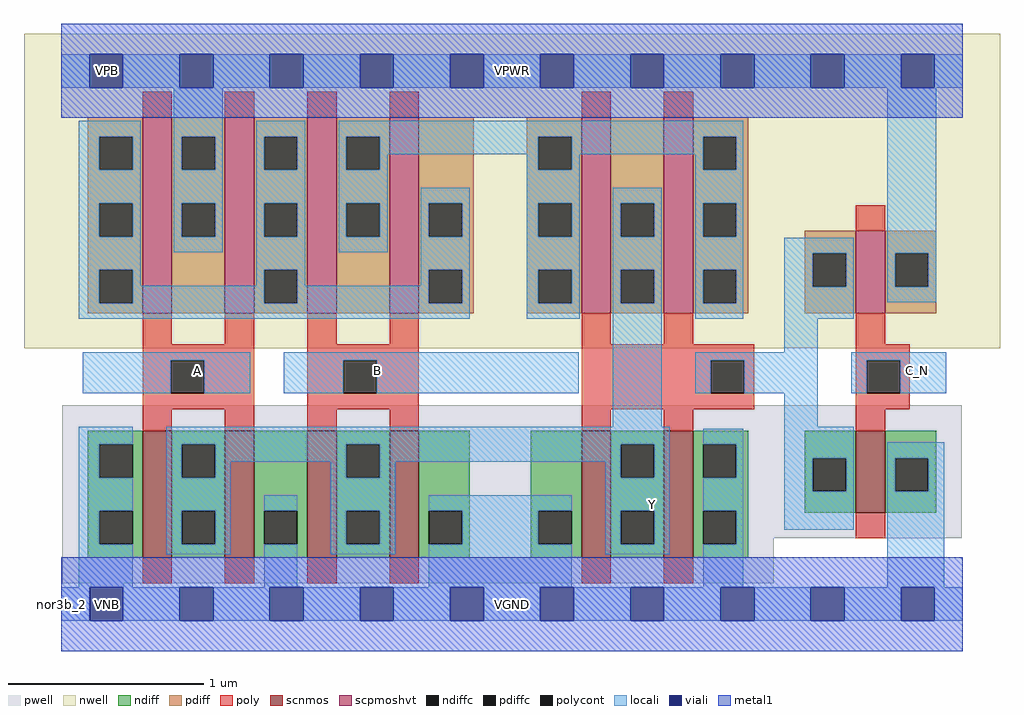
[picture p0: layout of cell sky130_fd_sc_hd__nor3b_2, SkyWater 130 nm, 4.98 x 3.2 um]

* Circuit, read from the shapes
.subckt sky130_fd_sc_hd__nor3b_2 A B C_N VGND VNB VPB VPWR Y
XM1 Y A VGND VNB sky130_fd_pr__nfet_01v8 w=0.65 l=0.15 m=2
XM2 Y B VGND VNB sky130_fd_pr__nfet_01v8 w=0.65 l=0.15 m=2
XM3 Y n1 VGND VNB sky130_fd_pr__nfet_01v8 w=0.65 l=0.15 m=2
XM4 VGND C_N n1 VNB sky130_fd_pr__nfet_01v8 w=0.42 l=0.15
XM5 VPWR A n2 VPB sky130_fd_pr__pfet_01v8_hvt w=1 l=0.15 m=2
XM6 n3 B n2 VPB sky130_fd_pr__pfet_01v8_hvt w=1 l=0.15 m=2
XM7 Y n1 n3 VPB sky130_fd_pr__pfet_01v8_hvt w=1 l=0.15 m=2
XM8 VPWR C_N n1 VPB sky130_fd_pr__pfet_01v8_hvt w=0.42 l=0.15
.ends

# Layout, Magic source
magic
tech sky130A
magscale 1 2
<< nwell >>
rect -38 261 958 582
<< pwell >>
rect 1 67 919 203
rect 1 21 727 67
rect 30 -17 64 21
<< scnmos >>
rect 83 47 113 177
rect 167 47 197 177
rect 251 47 281 177
rect 335 47 365 177
rect 531 47 561 177
rect 615 47 645 177
rect 811 93 841 177
<< scpmoshvt >>
rect 83 297 113 497
rect 167 297 197 497
rect 251 297 281 497
rect 335 297 365 497
rect 531 297 561 497
rect 615 297 645 497
rect 811 297 841 381
<< ndiff >>
rect 27 163 83 177
rect 27 129 39 163
rect 73 129 83 163
rect 27 95 83 129
rect 27 61 39 95
rect 73 61 83 95
rect 27 47 83 61
rect 113 163 167 177
rect 113 129 123 163
rect 157 129 167 163
rect 113 95 167 129
rect 113 61 123 95
rect 157 61 167 95
rect 113 47 167 61
rect 197 95 251 177
rect 197 61 207 95
rect 241 61 251 95
rect 197 47 251 61
rect 281 163 335 177
rect 281 129 291 163
rect 325 129 335 163
rect 281 95 335 129
rect 281 61 291 95
rect 325 61 335 95
rect 281 47 335 61
rect 365 95 417 177
rect 365 61 375 95
rect 409 61 417 95
rect 365 47 417 61
rect 479 95 531 177
rect 479 61 487 95
rect 521 61 531 95
rect 479 47 531 61
rect 561 163 615 177
rect 561 129 571 163
rect 605 129 615 163
rect 561 95 615 129
rect 561 61 571 95
rect 605 61 615 95
rect 561 47 615 61
rect 645 163 701 177
rect 645 129 655 163
rect 689 129 701 163
rect 645 95 701 129
rect 645 61 655 95
rect 689 61 701 95
rect 759 149 811 177
rect 759 115 767 149
rect 801 115 811 149
rect 759 93 811 115
rect 841 149 893 177
rect 841 115 851 149
rect 885 115 893 149
rect 841 93 893 115
rect 645 47 701 61
<< pdiff >>
rect 27 477 83 497
rect 27 443 39 477
rect 73 443 83 477
rect 27 409 83 443
rect 27 375 39 409
rect 73 375 83 409
rect 27 341 83 375
rect 27 307 39 341
rect 73 307 83 341
rect 27 297 83 307
rect 113 477 167 497
rect 113 443 123 477
rect 157 443 167 477
rect 113 409 167 443
rect 113 375 123 409
rect 157 375 167 409
rect 113 297 167 375
rect 197 477 251 497
rect 197 443 207 477
rect 241 443 251 477
rect 197 409 251 443
rect 197 375 207 409
rect 241 375 251 409
rect 197 341 251 375
rect 197 307 207 341
rect 241 307 251 341
rect 197 297 251 307
rect 281 477 335 497
rect 281 443 291 477
rect 325 443 335 477
rect 281 409 335 443
rect 281 375 291 409
rect 325 375 335 409
rect 281 297 335 375
rect 365 409 421 497
rect 365 375 375 409
rect 409 375 421 409
rect 365 341 421 375
rect 365 307 375 341
rect 409 307 421 341
rect 365 297 421 307
rect 475 477 531 497
rect 475 443 487 477
rect 521 443 531 477
rect 475 409 531 443
rect 475 375 487 409
rect 521 375 531 409
rect 475 341 531 375
rect 475 307 487 341
rect 521 307 531 341
rect 475 297 531 307
rect 561 409 615 497
rect 561 375 571 409
rect 605 375 615 409
rect 561 341 615 375
rect 561 307 571 341
rect 605 307 615 341
rect 561 297 615 307
rect 645 477 701 497
rect 645 443 655 477
rect 689 443 701 477
rect 645 409 701 443
rect 645 375 655 409
rect 689 375 701 409
rect 645 341 701 375
rect 645 307 655 341
rect 689 307 701 341
rect 645 297 701 307
rect 759 358 811 381
rect 759 324 767 358
rect 801 324 811 358
rect 759 297 811 324
rect 841 358 893 381
rect 841 324 851 358
rect 885 324 893 358
rect 841 297 893 324
<< ndiffc >>
rect 39 129 73 163
rect 39 61 73 95
rect 123 129 157 163
rect 123 61 157 95
rect 207 61 241 95
rect 291 129 325 163
rect 291 61 325 95
rect 375 61 409 95
rect 487 61 521 95
rect 571 129 605 163
rect 571 61 605 95
rect 655 129 689 163
rect 655 61 689 95
rect 767 115 801 149
rect 851 115 885 149
<< pdiffc >>
rect 39 443 73 477
rect 39 375 73 409
rect 39 307 73 341
rect 123 443 157 477
rect 123 375 157 409
rect 207 443 241 477
rect 207 375 241 409
rect 207 307 241 341
rect 291 443 325 477
rect 291 375 325 409
rect 375 375 409 409
rect 375 307 409 341
rect 487 443 521 477
rect 487 375 521 409
rect 487 307 521 341
rect 571 375 605 409
rect 571 307 605 341
rect 655 443 689 477
rect 655 375 689 409
rect 655 307 689 341
rect 767 324 801 358
rect 851 324 885 358
<< poly >>
rect 83 497 113 523
rect 167 497 197 523
rect 251 497 281 523
rect 335 497 365 523
rect 531 497 561 523
rect 615 497 645 523
rect 811 381 841 407
rect 83 265 113 297
rect 167 265 197 297
rect 83 249 197 265
rect 83 215 112 249
rect 146 215 197 249
rect 83 199 197 215
rect 83 177 113 199
rect 167 177 197 199
rect 251 265 281 297
rect 335 265 365 297
rect 251 249 365 265
rect 251 215 288 249
rect 322 215 365 249
rect 251 199 365 215
rect 251 177 281 199
rect 335 177 365 199
rect 531 265 561 297
rect 615 265 645 297
rect 811 265 841 297
rect 531 249 707 265
rect 531 215 663 249
rect 697 215 707 249
rect 531 199 707 215
rect 811 249 866 265
rect 811 215 822 249
rect 856 215 866 249
rect 811 199 866 215
rect 531 177 561 199
rect 615 177 645 199
rect 811 177 841 199
rect 811 67 841 93
rect 83 21 113 47
rect 167 21 197 47
rect 251 21 281 47
rect 335 21 365 47
rect 531 21 561 47
rect 615 21 645 47
<< polycont >>
rect 112 215 146 249
rect 288 215 322 249
rect 663 215 697 249
rect 822 215 856 249
<< locali >>
rect 0 527 29 561
rect 63 527 121 561
rect 155 527 213 561
rect 247 527 305 561
rect 339 527 397 561
rect 431 527 489 561
rect 523 527 581 561
rect 615 527 673 561
rect 707 527 765 561
rect 799 527 857 561
rect 891 527 920 561
rect 18 477 81 493
rect 18 443 39 477
rect 73 443 81 477
rect 18 409 81 443
rect 18 375 39 409
rect 73 375 81 409
rect 18 341 81 375
rect 115 477 165 527
rect 115 443 123 477
rect 157 443 165 477
rect 115 409 165 443
rect 115 375 123 409
rect 157 375 165 409
rect 115 359 165 375
rect 199 477 249 493
rect 199 443 207 477
rect 241 443 249 477
rect 199 409 249 443
rect 199 375 207 409
rect 241 375 249 409
rect 18 307 39 341
rect 73 325 81 341
rect 199 341 249 375
rect 283 477 696 493
rect 283 443 291 477
rect 325 459 487 477
rect 325 443 333 459
rect 283 409 333 443
rect 475 443 487 459
rect 521 459 655 477
rect 521 443 529 459
rect 283 375 291 409
rect 325 375 333 409
rect 283 359 333 375
rect 367 409 417 425
rect 367 375 375 409
rect 409 375 417 409
rect 199 325 207 341
rect 73 307 207 325
rect 241 325 249 341
rect 367 341 417 375
rect 367 325 375 341
rect 241 307 375 325
rect 409 307 417 341
rect 18 291 417 307
rect 475 409 529 443
rect 647 443 655 459
rect 689 443 696 477
rect 475 375 487 409
rect 521 375 529 409
rect 475 341 529 375
rect 475 307 487 341
rect 521 307 529 341
rect 475 291 529 307
rect 563 409 613 425
rect 563 375 571 409
rect 605 375 613 409
rect 563 341 613 375
rect 563 307 571 341
rect 605 307 613 341
rect 22 249 193 257
rect 22 215 112 249
rect 146 215 193 249
rect 227 249 528 257
rect 227 215 288 249
rect 322 215 528 249
rect 563 181 613 307
rect 647 409 696 443
rect 647 375 655 409
rect 689 375 696 409
rect 647 341 696 375
rect 647 307 655 341
rect 689 307 696 341
rect 647 291 696 307
rect 738 358 809 374
rect 738 324 767 358
rect 801 324 809 358
rect 738 291 809 324
rect 843 358 893 527
rect 843 324 851 358
rect 885 324 893 358
rect 843 308 893 324
rect 738 257 772 291
rect 647 249 772 257
rect 647 215 663 249
rect 697 215 772 249
rect 806 249 903 257
rect 806 215 822 249
rect 856 215 903 249
rect 738 181 772 215
rect 18 163 73 181
rect 18 129 39 163
rect 18 95 73 129
rect 18 61 39 95
rect 18 17 73 61
rect 107 163 621 181
rect 107 129 123 163
rect 157 145 291 163
rect 157 129 173 145
rect 107 95 173 129
rect 275 129 291 145
rect 325 145 571 163
rect 325 129 341 145
rect 107 61 123 95
rect 157 61 173 95
rect 107 51 173 61
rect 207 95 241 111
rect 207 17 241 61
rect 275 95 341 129
rect 555 129 571 145
rect 605 129 621 163
rect 275 61 291 95
rect 325 61 341 95
rect 275 51 341 61
rect 375 95 521 111
rect 409 61 487 95
rect 375 17 521 61
rect 555 95 621 129
rect 555 61 571 95
rect 605 61 621 95
rect 555 51 621 61
rect 655 163 696 179
rect 689 129 696 163
rect 655 95 696 129
rect 689 61 696 95
rect 738 149 809 181
rect 738 115 767 149
rect 801 115 809 149
rect 738 76 809 115
rect 843 149 901 165
rect 843 115 851 149
rect 885 115 901 149
rect 655 17 696 61
rect 843 17 901 115
rect 0 -17 29 17
rect 63 -17 121 17
rect 155 -17 213 17
rect 247 -17 305 17
rect 339 -17 397 17
rect 431 -17 489 17
rect 523 -17 581 17
rect 615 -17 673 17
rect 707 -17 765 17
rect 799 -17 857 17
rect 891 -17 920 17
<< viali >>
rect 29 527 63 561
rect 121 527 155 561
rect 213 527 247 561
rect 305 527 339 561
rect 397 527 431 561
rect 489 527 523 561
rect 581 527 615 561
rect 673 527 707 561
rect 765 527 799 561
rect 857 527 891 561
rect 29 -17 63 17
rect 121 -17 155 17
rect 213 -17 247 17
rect 305 -17 339 17
rect 397 -17 431 17
rect 489 -17 523 17
rect 581 -17 615 17
rect 673 -17 707 17
rect 765 -17 799 17
rect 857 -17 891 17
<< metal1 >>
rect 0 561 920 592
rect 0 527 29 561
rect 63 527 121 561
rect 155 527 213 561
rect 247 527 305 561
rect 339 527 397 561
rect 431 527 489 561
rect 523 527 581 561
rect 615 527 673 561
rect 707 527 765 561
rect 799 527 857 561
rect 891 527 920 561
rect 0 496 920 527
rect 0 17 920 48
rect 0 -17 29 17
rect 63 -17 121 17
rect 155 -17 213 17
rect 247 -17 305 17
rect 339 -17 397 17
rect 431 -17 489 17
rect 523 -17 581 17
rect 615 -17 673 17
rect 707 -17 765 17
rect 799 -17 857 17
rect 891 -17 920 17
rect 0 -48 920 -17
<< labels >>
flabel locali s 857 221 891 255 0 FreeSans 400 0 0 0 C_N
port 3 nsew signal input
flabel locali s 586 85 620 119 0 FreeSans 400 0 0 0 Y
port 8 nsew signal output
flabel locali s 122 221 156 255 0 FreeSans 400 0 0 0 A
port 1 nsew signal input
flabel locali s 306 221 340 255 0 FreeSans 400 0 0 0 B
port 2 nsew signal input
flabel nwell s 30 527 64 561 0 FreeSans 200 0 0 0 VPB
port 6 nsew power bidirectional
flabel pwell s 30 -17 64 17 0 FreeSans 200 0 0 0 VNB
port 5 nsew ground bidirectional
flabel metal1 s 30 -17 64 17 0 FreeSans 200 0 0 0 VGND
port 4 nsew ground bidirectional abutment
flabel metal1 s 30 527 64 561 0 FreeSans 200 0 0 0 VPWR
port 7 nsew power bidirectional abutment
rlabel comment s 0 0 0 0 4 nor3b_2
rlabel metal1 s 0 -48 920 48 1 VGND
port 4 nsew ground bidirectional abutment
rlabel metal1 s 0 496 920 592 1 VPWR
port 7 nsew power bidirectional abutment
<< properties >>
string FIXED_BBOX 0 0 920 544
string GDS_END 1113160
string GDS_FILE $PDKPATH/libs.ref/sky130_fd_sc_hd/gds/sky130_fd_sc_hd.gds
string GDS_START 1105344
string LEFclass CORE
string LEFsite unithd
string LEFsymmetry X Y R90
string path 0.000 0.000 4.600 0.000 
<< end >>
